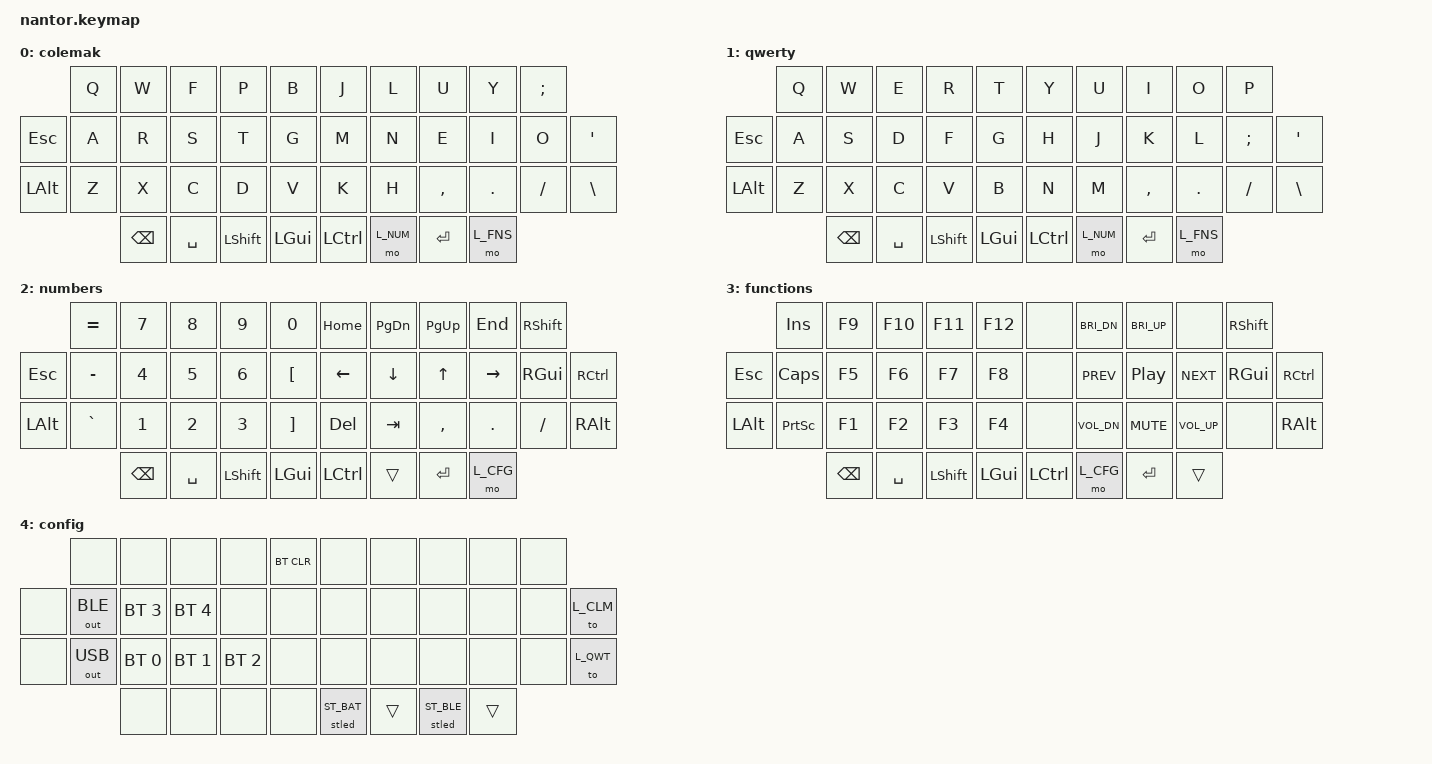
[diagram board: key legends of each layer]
#include <behaviors.dtsi>
#include <dt-bindings/zmk/bt.h>
#include <dt-bindings/zmk/keys.h>
#include <dt-bindings/zmk/outputs.h>
#include <dt-bindings/zmk/stled.h>

#define L_CLM 0
#define L_QWT 1
#define L_NUM 2
#define L_FNS 3
#define L_CFG 4

/ {
    keymap {
      compatible = "zmk,keymap";

     /*
      *     ┌───┬───┬───┬───┬───┐      ┌───┬───┬───┬───┬───┐
      * ┌───┤ Q │ W │ F │ P │ B │      │ J │ L │ U │ Y │ ; ├───┐
      * │Esc├───┼───┼───┼───┼───┤      ├───┼───┼───┼───┼───┤ ' │
      * ├───┤ A │ R │ S │ T │ G │      │ M │ N │ E │ I │ O ├───┤
      * │Alt├───┼───┼───┼───┼───┤      ├───┼───┼───┼───┼───┤ \ │
      * └───┤ Z │ X │ C │ D │ V │      │ K │ H │ , │ . │ / ├───┘
      *     └───┴───┴───┴───┴───┘      └───┴───┴───┴───┴───┘
      *           ┌───┬───┬───┬───┐  ┌───┬───┬───┬───┐
      *           │Bsp│Spc│Sft│ ⌘ │  │Ctl│NUM│Ent│FNS│
      *           └───┴───┴───┴───┘  └───┴───┴───┴───┘
      */
      colemak {
        bindings =
        <
                  &kp Q     &kp W     &kp F     &kp P     &kp B         &kp J     &kp L     &kp U     &kp Y     &kp SEMI
        &kp ESC   &kp A     &kp R     &kp S     &kp T     &kp G         &kp M     &kp N     &kp E     &kp I     &kp O     &kp SQT
        &kp LALT  &kp Z     &kp X     &kp C     &kp D     &kp V         &kp K     &kp H     &kp COMMA &kp DOT   &kp FSLH  &kp BSLH
                            &kp BSPC  &kp SPACE &kp LSHFT &kp LGUI      &kp LCTRL &mo L_NUM &kp ENTER &mo L_FNS
        >;
      };

     /*
      *     ┌───┬───┬───┬───┬───┐      ┌───┬───┬───┬───┬───┐
      * ┌───┤ Q │ W │ E │ R │ T │      │ Y │ U │ I │ O │ P ├───┐
      * │Esc├───┼───┼───┼───┼───┤      ├───┼───┼───┼───┼───┤ ' │
      * ├───┤ A │ S │ D │ F │ G │      │ H │ J │ K │ L │ ; ├───┤
      * │Alt├───┼───┼───┼───┼───┤      ├───┼───┼───┼───┼───┤ \ │
      * └───┤ Z │ X │ C │ V │ B │      │ N │ M │ , │ . │ / ├───┘
      *     └───┴───┴───┴───┴───┘      └───┴───┴───┴───┴───┘
      *           ┌───┬───┬───┬───┐  ┌───┬───┬───┬───┐
      *           │Bsp│Spc│Sft│ ⌘ │  │Ctl│NUM│Ent│FNS│
      *           └───┴───┴───┴───┘  └───┴───┴───┴───┘
      */
      qwerty {
        bindings =
        <
                  &kp Q     &kp W     &kp E     &kp R     &kp T         &kp Y     &kp U     &kp I     &kp O     &kp P
        &kp ESC   &kp A     &kp S     &kp D     &kp F     &kp G         &kp H     &kp J     &kp K     &kp L     &kp SEMI  &kp SQT
        &kp LALT  &kp Z     &kp X     &kp C     &kp V     &kp B         &kp N     &kp M     &kp COMMA &kp DOT   &kp FSLH  &kp BSLH
                            &kp BSPC  &kp SPACE &kp LSHFT &kp LGUI      &kp LCTRL &mo L_NUM &kp ENTER &mo L_FNS
        >;
      };

      numbers {
     /*
      *     ┌───┬───┬───┬───┬───┐      ┌───┬───┬───┬───┬───┐
      * ┌───┤ = │ 7 │ 8 │ 9 │ 0 │      │Hom│PDn│PUp│End│Sft├───┐
      * │Esc├───┼───┼───┼───┼───┤      ├───┼───┼───┼───┼───┤Ctl│
      * ├───┤ - │ 4 │ 5 │ 6 │ [ │      │ ← │ ↓ │ ↑ │ → │ ⌘ ├───┤
      * │Alt├───┼───┼───┼───┼───┤      ├───┼───┼───┼───┼───┤Alt│
      * └───┤ ` │ 1 │ 2 │ 3 │ ] │      │Del│Tab│ , │ . │ / ├───┘
      *     └───┴───┴───┴───┴───┘      └───┴───┴───┴───┴───┘
      *           ┌───┬───┬───┬───┐  ┌───┬───┬───┬───┐
      *           │Bsp│Spc│Sft│ ⌘ │  │Ctl│ ∆ │Ent│CFG│
      *           └───┴───┴───┴───┘  └───┴───┴───┴───┘
      */
        bindings =
        <
                  &kp EQUAL &kp N7    &kp N8    &kp N9    &kp N0        &kp HOME  &kp PG_DN &kp PG_UP &kp END   &kp RSHFT
        &kp ESC   &kp MINUS &kp N4    &kp N5    &kp N6    &kp LBKT      &kp LEFT  &kp DOWN  &kp UP    &kp RIGHT &kp RGUI  &kp RCTRL
        &kp LALT  &kp GRAVE &kp N1    &kp N2    &kp N3    &kp RBKT      &kp DEL   &kp TAB   &kp COMMA &kp DOT   &kp FSLH  &kp RALT
                            &kp BSPC  &kp SPACE &kp LSHFT &kp LGUI      &kp LCTRL &trans    &kp ENTER &mo L_CFG
        >;
      };

      functions {
     /*
      *     ┌───┬───┬───┬───┬───┐      ┌───┬───┬───┬───┬───┐
      * ┌───┤Ins│ F9│F10│F11│F12│      │   │-B │+B │   │Sft├───┐
      * │Esc├───┼───┼───┼───┼───┤      ├───┼───┼───┼───┼───┤Ctl│
      * ├───┤Cap│ F5│ F6│ F7│ F8│      │   │ ◄ │ ‖ │ ► │ ⌘ ├───┤
      * │Alt├───┼───┼───┼───┼───┤      ├───┼───┼───┼───┼───┤Alt│
      * └───┤PSc│ F1│ F2│ F3│ F4│      │   │-V │ V0│+V │   ├───┘
      *     └───┴───┴───┴───┴───┘      └───┴───┴───┴───┴───┘
      *           ┌───┬───┬───┬───┐  ┌───┬───┬───┬───┐
      *           │Bsp│Spc│Sft│ ⌘ │  │Ctl│CFG│Ent│ ∆ │
      *           └───┴───┴───┴───┘  └───┴───┴───┴───┘
      */

        bindings =
        <
                  &kp INS   &kp F9    &kp F10   &kp F11   &kp F12       &none     &kp C_BRI_DN &kp C_BRI_UP &none        &kp RSHFT
        &kp ESC   &kp CAPS  &kp F5    &kp F6    &kp F7    &kp F8        &none     &kp C_PREV   &kp C_PP     &kp C_NEXT   &kp RGUI  &kp RCTRL
        &kp LALT  &kp PSCRN &kp F1    &kp F2    &kp F3    &kp F4        &none     &kp C_VOL_DN &kp C_MUTE   &kp C_VOL_UP &none     &kp RALT
                            &kp BSPC  &kp SPACE &kp LSHFT &kp LGUI      &kp LCTRL &mo L_CFG    &kp ENTER    &trans
        >;
      };

      config {
     /*
      *     ┌───┬───┬───┬───┬───┐      ┌───┬───┬───┬───┬───┐
      * ┌───┤   │   │   │   │BTC│      │   │   │   │   │   ├───┐
      * │   ├───┼───┼───┼───┼───┤      ├───┼───┼───┼───┼───┤CLM│
      * ├───┤BLE│BT3│BT4│   │   │      │   │   │   │   │   ├───┤
      * │   ├───┼───┼───┼───┼───┤      ├───┼───┼───┼───┼───┤QWT│
      * └───┤USB│BT0│BT1│BT2│   │      │   │   │   │   │   ├───┘
      *     └───┴───┴───┴───┴───┘      └───┴───┴───┴───┴───┘
      *           ┌───┬───┬───┬───┐  ┌───┬───┬───┬───┐
      *           │   │   │   │   │  │BAT│ ∆ │BLT│ ∆ │
      *           └───┴───┴───┴───┘  └───┴───┴───┴───┘
      */

        bindings =
        <
              &none        &none        &none        &none        &bt BT_CLR    &none         &none  &none          &none  &none
        &none &out OUT_BLE &bt BT_SEL 3 &bt BT_SEL 4 &none        &none         &none         &none  &none          &none  &none &to L_CLM
        &none &out OUT_USB &bt BT_SEL 0 &bt BT_SEL 1 &bt BT_SEL 2 &none         &none         &none  &none          &none  &none &to L_QWT
                           &none        &none        &none        &none         &stled ST_BAT &trans &stled ST_BLE  &trans
        >;
      };
    };
};
